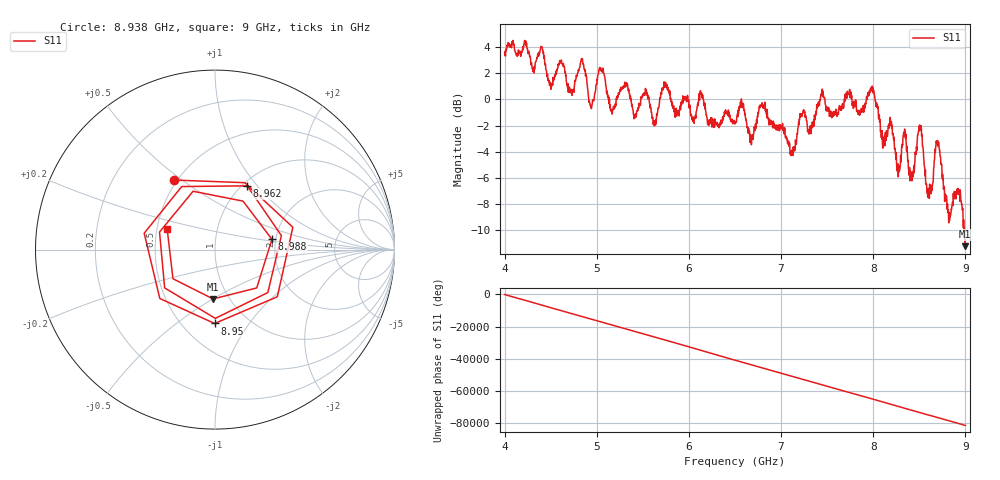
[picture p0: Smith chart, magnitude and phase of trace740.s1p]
! Created with skrf 1.8.0 (http://scikit-rf.org).
# Hz S RI R 50.0
!freq ReS11 ImS11
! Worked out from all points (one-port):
!   1601 points, 4 GHz to 9 GHz, reference 50 ohm
!   lowest |S11| = -11.2 dB at 8.994 GHz (marker M1), VSWR 1.76, Z = 42.1 - j25.1 ohm
!   |S11| at or under -10 dB: 8.98362 GHz to 8.98565 GHz (2.03 MHz wide, 0.0226 % of centre); 8.9908 GHz to end of sweep
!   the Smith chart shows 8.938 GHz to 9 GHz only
!   S11 on the Smith chart (normalised r, x): 8.938 GHz: 0.48, +0.47; 8.95 GHz: 0.71, -0.70; 8.962 GHz: 1.05, +0.89; 8.988 GHz: 1.91, +0.24; 9 GHz: 0.57, +0.14
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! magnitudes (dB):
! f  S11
! 4 GHz  3.5
! 4.625 GHz  2.7
! 4.728 GHz  0.6
! 4.847 GHz  2.9
! 4.934 GHz  -0.6
! 5.047 GHz  2.2
! 5.166 GHz  -1.1
! 5.25 GHz  0.6
! 5.875 GHz  -1.1
! 6.5 GHz  -1.9
! 6.8 GHz  -0.3
! 7.125 GHz  -4.1
! 7.231 GHz  -1.1
! 7.75 GHz  0.3
! 7.991 GHz  0.9
! 8.103 GHz  -3.7
! 8.375 GHz  -4.7
! 8.422 GHz  -5.9
! 8.506 GHz  -2.0
! 8.594 GHz  -7.3
! 8.694 GHz  -3.2
! 8.825 GHz  -9.0
! 8.938 GHz  -6.9
! 8.95 GHz  -7.7
! 8.962 GHz  -8.0
! 8.988 GHz  -9.8
! 8.994 GHz  -11.2
! 9 GHz  -10.8
